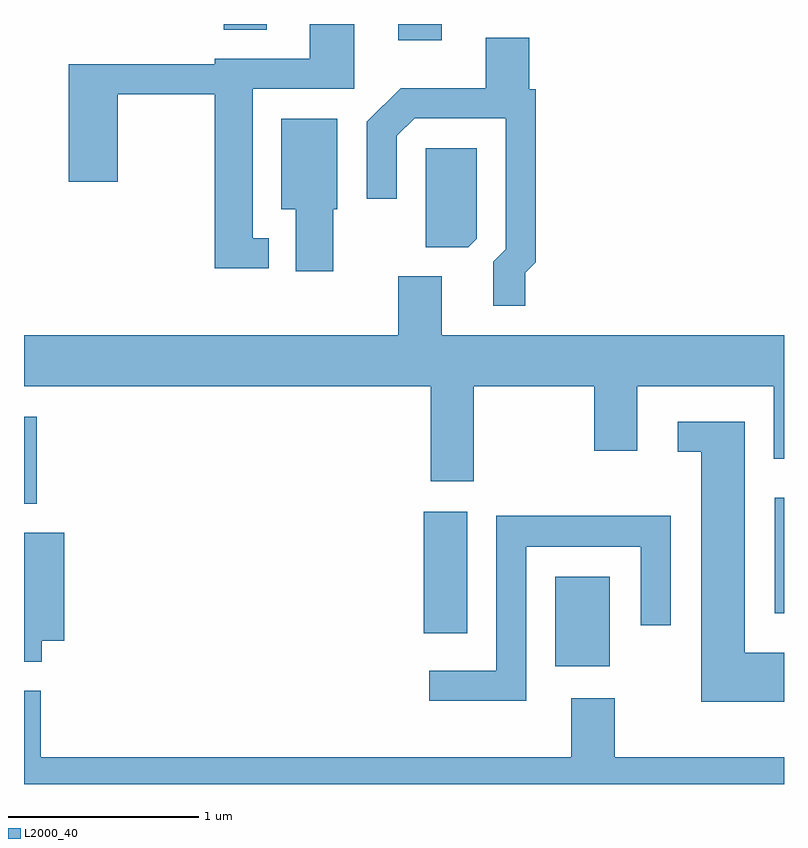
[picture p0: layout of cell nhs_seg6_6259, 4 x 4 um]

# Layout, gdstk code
import gdstk
lib = gdstk.Library(unit=1e-6, precision=1e-09)
def R(c, l, rs):  # rectangles x0, y0, x1, y1
    for r in rs: c.add(gdstk.rectangle(r[:2], r[2:], *l))
def P(c, l, *ps):  # polygons
    for p in ps: c.add(gdstk.Polygon(p, *l))
L2000_40 = (2000, 40)

nhs_seg6_6259 = lib.new_cell('nhs_seg6_6259')
R(nhs_seg6_6259, L2000_40, [(378.406,1550.781,378.694,1551.254), (377.716,1550.956,377.944,1551.594), (379.561,1551.061,379.611,1551.669), (375.611,1551.636,375.679,1552.094), (377.581,1554.076,377.809,1554.162), (376.661,1554.131,376.889,1554.162)])
P(nhs_seg6_6259, L2000_40, [(376.898,1553.034),(376.814,1553.034),(376.814,1553.821),(377.349,1553.821),(377.349,1554.162),(377.116,1554.162),(377.116,1553.979),(376.616,1553.979),(376.616,1553.949),(375.846,1553.949),(375.846,1553.331),(376.104,1553.331),(376.104,1553.791),(376.616,1553.791),(376.616,1552.876),(376.898,1552.876)],
  [(378.249,1552.854),(378.304,1552.909),(378.304,1553.819),(378.269,1553.819),(378.269,1554.089),(378.041,1554.089),(378.041,1553.824),(377.594,1553.824),(377.416,1553.647),(377.416,1553.243),(377.574,1553.243),(377.574,1553.574),(377.667,1553.666),(378.146,1553.666),(378.146,1552.977),(378.081,1552.912),(378.081,1552.678),(378.249,1552.678)],
  [(377.239,1553.186),(377.259,1553.186),(377.259,1553.664),(376.966,1553.664),(376.966,1553.186),(377.041,1553.186),(377.041,1552.861),(377.239,1552.861)],
  [(377.994,1553.032),(377.994,1553.509),(377.726,1553.509),(377.726,1552.986),(377.949,1552.986)],
  [(377.979,1552.256),(378.611,1552.256),(378.611,1551.916),(378.839,1551.916),(378.839,1552.256),(379.556,1552.256),(379.556,1551.873),(379.611,1551.873),(379.611,1552.524),(377.809,1552.524),(377.809,1552.834),(377.581,1552.834),(377.581,1552.524),(375.611,1552.524),(375.611,1552.256),(377.751,1552.256),(377.751,1551.756),(377.979,1551.756)],
  [(379.611,1550.854),(379.404,1550.854),(379.404,1552.069),(379.053,1552.069),(379.053,1551.911),(379.176,1551.911),(379.176,1550.596),(379.611,1550.596)],
  [(378.254,1551.411),(378.856,1551.411),(378.856,1550.998),(379.014,1550.998),(379.014,1551.574),(378.096,1551.574),(378.096,1550.759),(377.743,1550.759),(377.743,1550.601),(378.254,1550.601)],
  [(375.704,1550.916),(375.824,1550.916),(375.824,1551.484),(375.611,1551.484),(375.611,1550.806),(375.704,1550.806)],
  [(379.611,1550.304),(378.719,1550.304),(378.719,1550.614),(378.491,1550.614),(378.491,1550.304),(375.699,1550.304),(375.699,1550.654),(375.611,1550.654),(375.611,1550.162),(379.611,1550.162)])

lib.write_gds('nhs_seg6_6259.gds')
